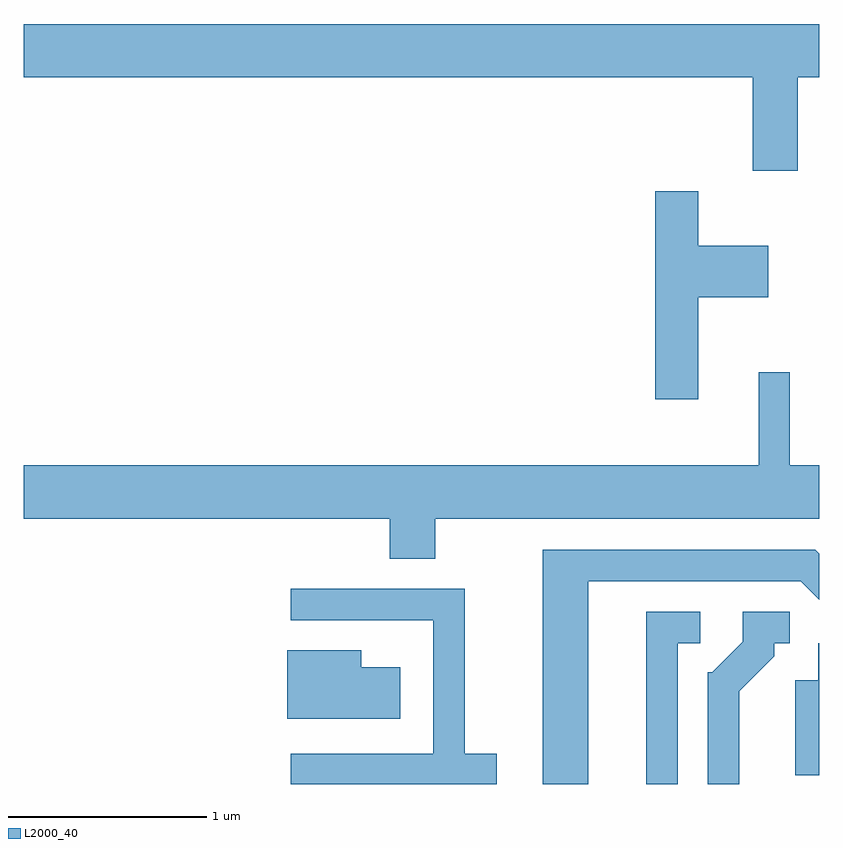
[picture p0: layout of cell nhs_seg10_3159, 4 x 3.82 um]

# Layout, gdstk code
import gdstk
lib = gdstk.Library(unit=1e-6, precision=1e-09)
def P(c, l, *ps):  # polygons
    for p in ps: c.add(gdstk.Polygon(p, *l))
L2000_40 = (2000, 40)

nhs_seg10_3159 = lib.new_cell('nhs_seg10_3159')
P(nhs_seg10_3159, L2000_40, [(281.504,2176.076),(281.611,2176.076),(281.611,2176.344),(277.611,2176.344),(277.611,2176.076),(281.276,2176.076),(281.276,2175.606),(281.504,2175.606)],
  [(281.004,2174.971),(281.354,2174.971),(281.354,2175.229),(281.004,2175.229),(281.004,2175.504),(280.786,2175.504),(280.786,2174.456),(281.004,2174.456)],
  [(279.679,2173.856),(281.611,2173.856),(281.611,2174.124),(281.464,2174.124),(281.464,2174.593),(281.306,2174.593),(281.306,2174.124),(277.611,2174.124),(277.611,2173.856),(279.451,2173.856),(279.451,2173.656),(279.679,2173.656)],
  [(280.449,2173.541),(281.519,2173.541),(281.611,2173.449),(281.611,2173.68),(281.592,2173.699),(280.221,2173.699),(280.221,2172.522),(280.449,2172.522)],
  [(279.989,2172.674),(279.829,2172.674),(279.829,2173.504),(278.953,2173.504),(278.953,2173.346),(279.671,2173.346),(279.671,2172.674),(278.953,2172.674),(278.953,2172.522),(279.989,2172.522)],
  [(281.209,2172.989),(281.384,2173.164),(281.384,2173.231),(281.463,2173.231),(281.463,2173.389),(281.226,2173.389),(281.226,2173.237),(281.074,2173.084),(281.051,2173.084),(281.051,2172.522),(281.209,2172.522)],
  [(280.899,2173.231),(281.013,2173.231),(281.013,2173.389),(280.741,2173.389),(280.741,2172.522),(280.899,2172.522)],
  [(281.611,2173.229),(281.606,2173.229),(281.606,2173.044),(281.491,2173.044),(281.491,2172.566),(281.611,2172.566)],
  [(279.504,2173.109),(279.309,2173.109),(279.309,2173.194),(278.936,2173.194),(278.936,2172.851),(279.504,2172.851)])

lib.write_gds('nhs_seg10_3159.gds')
